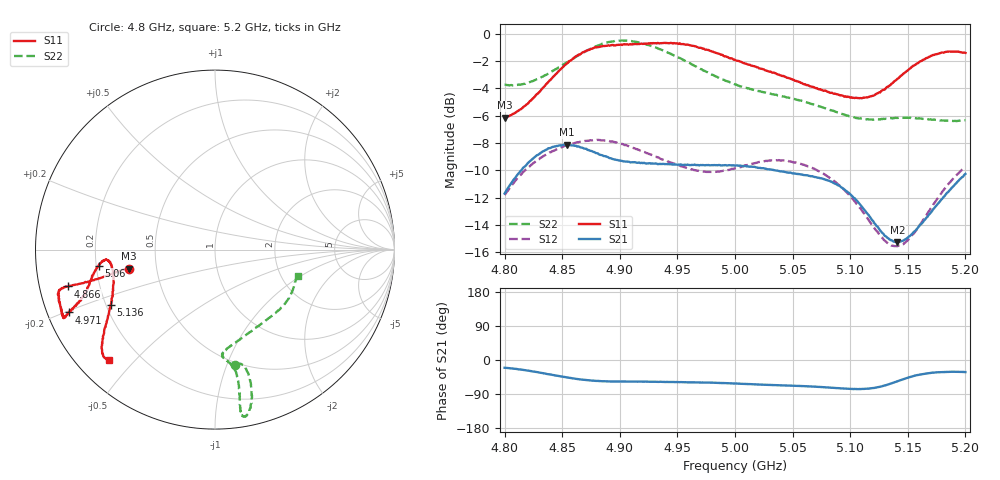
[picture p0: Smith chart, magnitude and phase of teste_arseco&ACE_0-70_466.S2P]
! Network Analyzer HP8722D
! Hewlett-Packard
! Data name: Linha & Wilkinson
! Saver's name: Rodrigo Anjos
! Comments: Teste da utilização de aquisição
! continua pelo VNA HP8722D
! Time and date: 8/5/2025 16:38
!  Frequency  S11  S21  S12  S22
# HZ  S  MA R 50
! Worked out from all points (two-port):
!   401 points, 4.8 GHz to 5.2 GHz, reference 50 ohm
!   highest |S21| = -8.12 dB at 4.854 GHz (marker M1); lowest = -15.2 dB at 5.141 GHz (marker M2)
!   |S21| within 3 dB of the highest: 4.804 GHz to 5.09 GHz (286 MHz wide, 5.78 % of centre); 5.190044 GHz to end of sweep
!   lowest |S11| = -6.1 dB at 4.8 GHz (marker M3), VSWR 2.94, Z = 17.2 - j4.82 ohm
!   |S11| at or under -10 dB: nowhere
!   |S22| runs from -6.4 to -0.5 dB; largest |S21 - S12| = 0.62
!   S11 on the Smith chart (normalised r, x): 4.8 GHz: 0.34, -0.10; 4.866 GHz: 0.09, -0.12; 4.971 GHz: 0.06, -0.21; 5.06 GHz: 0.21, -0.07; 5.136 GHz: 0.22, -0.24; 5.2 GHz: 0.09, -0.42
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4.8e9  0.4928 -167.5  0.2601 -20.5  0.257 -141.6  0.6513 -80.1
4.826e9  0.5881 -166.8  0.3527 -31.0  0.3383 -145.6  0.6763 -75.8
4.854e9  0.7783 -165.9  0.3924 -46.1  0.3911 -150.7  0.7855 -75.2
4.866e9  0.8433 -165.9  0.3834 -51.3  0.4027 -152.6  0.8414 -75.9
4.867e9  0.851 -165.9  0.3833 -51.7  0.4032 -152.9  0.8485 -75.9
4.88e9  0.8924 -165.6  0.3656 -55.3  0.4086 -154.8  0.9036 -77.4
4.898e9  0.9104 -163.0  0.3449 -56.7  0.3978 -156.9  0.9431 -79.4
4.934e9  0.923 -156.7  0.3337 -57.8  0.3519 -155.9  0.8809 -80.8
4.971e9  0.8867 -156.7  0.3306 -59.5  0.3134 -146.7  0.7421 -80.0
5e9  0.8036 -159.4  0.329 -62.1  0.3219 -137.6  0.653 -81.6
5.036e9  0.7147 -166.0  0.3156 -66.5  0.3444 -135.0  0.5981 -85.9
5.06e9  0.654 -172.1  0.3037 -68.9  0.3311 -136.9  0.565 -84.3
5.067e9  0.6397 -173.4  0.3012 -69.8  0.3227 -137.5  0.553 -82.6
5.083e9  0.6076 -174.6  0.2879 -73.1  0.2954 -139.0  0.526 -76.5
5.101e9  0.5855 -171.4  0.2562 -76.2  0.2517 -139.2  0.4979 -65.9
5.116e9  0.5869 -164.5  0.2169 -75.6  0.2078 -135.1  0.4861 -55.1
5.134e9  0.6461 -153.4  0.1767 -63.5  0.1693 -119.1  0.491 -43.0
5.136e9  0.6573 -152.1  0.1752 -61.6  0.1673 -116.5  0.4907 -41.6
5.141e9  0.6848 -149.5  0.1728 -55.9  0.1668 -109.8  0.492 -38.7
5.154e9  0.7597 -144.2  0.1854 -43.2  0.1838 -93.9  0.4915 -32.2
5.172e9  0.8372 -139.0  0.2275 -33.5  0.2364 -81.0  0.4847 -24.5
5.2e9  0.8514 -133.8  0.3068 -31.8  0.325 -77.4  0.4827 -17.6
